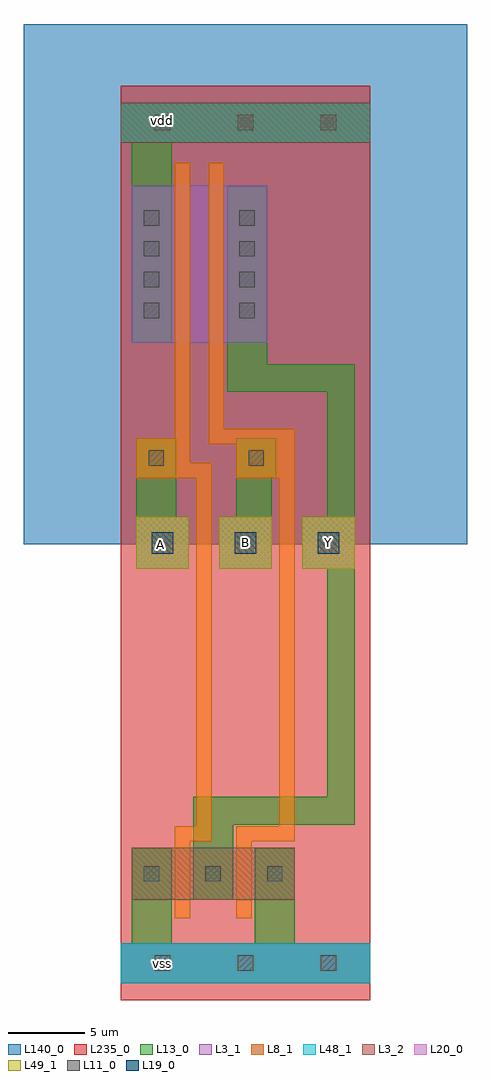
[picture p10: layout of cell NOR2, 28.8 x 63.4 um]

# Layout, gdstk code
import gdstk
lib = gdstk.Library(unit=1e-6, precision=1e-09)
def R(c, l, rs):  # rectangles x0, y0, x1, y1
    for r in rs: c.add(gdstk.rectangle(r[:2], r[2:], *l))
def A(c, l, x, y, w, h, nx, ny, dx, dy):  # array of equal rectangles
    R(c, l, [(x+i*dx, y+j*dy, x+i*dx+w, y+j*dy+h) for i in range(nx) for j in range(ny)])
def P(c, l, *ps):  # polygons
    for p in ps: c.add(gdstk.Polygon(p, *l))
L3_1 = (3, 1)
L3_2 = (3, 2)
L8_1 = (8, 1)
L11_0 = (11, 0)
L13_0 = (13, 0)
L19_0 = (19, 0)
L20_0 = (20, 0)
L48_1 = (48, 1)
L49_1 = (49, 1)
L140_0 = (140, 0)
L235_0 = (235, 0)

nor2 = lib.new_cell('NOR2')
R(nor2, L3_1, [(0,1.1,16.2,3.7), (0.7,42.7,9.5,52.9)])
R(nor2, L3_2, [(0.7,6.5,11.3,9.9), (0,55.7,16.2,58.3)])
P(nor2, L8_1, [(3.5,5.3),(3.5,11.3),(4.9,11.3),(4.9,33.9),(1,33.9),(1,36.5),(3.5,36.5),(3.5,54.4),(4.5,54.4),(4.5,34.9),(5.9,34.9),(5.9,10.3),(4.5,10.3),(4.5,5.3)],
  [(7.5,5.3),(7.5,11.3),(10.3,11.3),(10.3,33.9),(7.5,33.9),(7.5,36.1),(5.7,36.1),(5.7,54.4),(6.7,54.4),(6.7,37.1),(11.3,37.1),(11.3,10.3),(8.5,10.3),(8.5,5.3)])
A(nor2, L11_0, 1.5, 7.7, 1, 1, 3, 1, 4, 0)
A(nor2, L11_0, 1.5, 44.3, 1, 1, 1, 4, 0, 2)
A(nor2, L11_0, 7.7, 44.3, 1, 1, 1, 4, 0, 2)
R(nor2, L11_0, [(2.2,1.9,3.2,2.9), (7.6,1.9,8.6,2.9), (7.6,1.9,8.6,2.9), (13,1.9,14,2.9), (1.8,34.7,2.8,35.7), (8.3,34.7,9.3,35.7), (2.2,56.5,3.2,57.5), (2.2,56.5,3.2,57.5), (7.6,56.5,8.6,57.5), (7.6,56.5,8.6,57.5), (7.6,56.5,8.6,57.5), (7.6,56.5,8.6,57.5), (13,56.5,14,57.5)])
R(nor2, L13_0, [(0,1.1,16.2,3.7), (0.7,3.7,3.3,9.9), (8.7,3.7,11.3,9.9), (1,28,4.4,31.4), (1,28,4.4,31.4), (6.4,28,9.8,31.4), (6.4,28,9.8,31.4), (11.8,28,15.2,31.4), (1,31.4,3.6,36.5), (0.7,42.7,3.3,55.7), (0,55.7,16.2,58.3)])
P(nor2, L13_0, [(4.7,6.5),(4.7,13.2),(13.4,13.2),(13.4,28),(11.8,28),(11.8,31.4),(13.4,31.4),(13.4,39.5),(6.9,39.5),(6.9,52.9),(9.5,52.9),(9.5,41.3),(15.2,41.3),(15.2,11.4),(7.3,11.4),(7.3,6.5)],
  [(7.5,31.4),(7.5,36.5),(10.1,36.5),(10.1,33.9),(9.8,33.9),(9.8,31.4)])
A(nor2, L19_0, 2, 29, 1.4, 1.4, 3, 1, 5.4, 0)
A(nor2, L20_0, 1, 28, 3.4, 3.4, 3, 1, 5.4, 0)
R(nor2, L48_1, [(0,1.1,16.2,3.7), (0,55.7,16.2,58.3)])
A(nor2, L49_1, 1, 28, 3.4, 3.4, 3, 1, 5.4, 0)
R(nor2, L140_0, [(-6.3,29.6,22.5,63.4)])
R(nor2, L235_0, [(0,0,16.2,59.4)])
nor2.add(gdstk.Label('A', (2.6,29.6), layer=49, texttype=0))
nor2.add(gdstk.Label('Y', (13.5,29.7), layer=49, texttype=0))
nor2.add(gdstk.Label('B', (8.1,29.7), layer=49, texttype=0))
nor2.add(gdstk.Label('vss', (2.7,2.4), layer=48, texttype=0))
nor2.add(gdstk.Label('vdd', (2.7,57.1), layer=48, texttype=0))

lib.write_gds('NOR2.gds')
